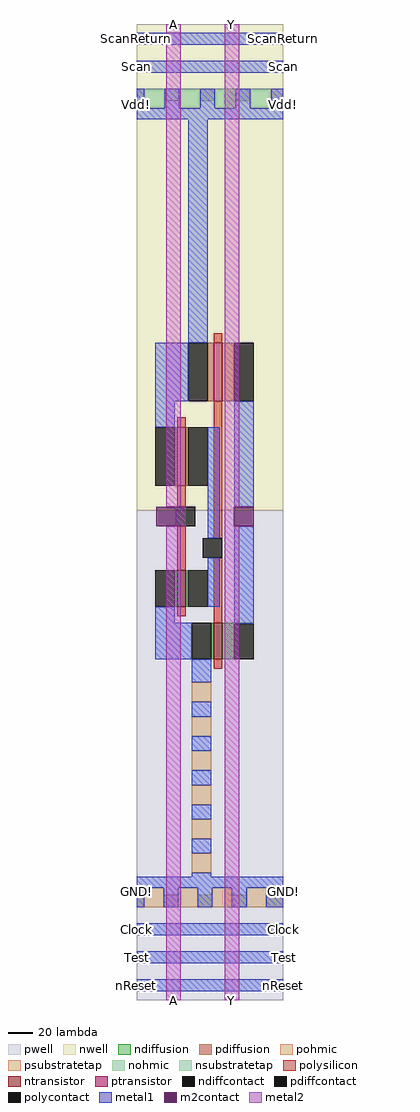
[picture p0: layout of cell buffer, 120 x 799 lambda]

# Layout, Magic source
magic
tech c035u
<< nwell >>
rect 0 401 120 799
<< pwell >>
rect 0 0 120 401
<< polysilicon >>
rect 63 538 70 546
rect 33 469 40 477
rect 33 404 40 421
rect 33 352 40 388
rect 63 378 70 490
rect 33 314 40 322
rect 63 309 70 362
rect 63 271 70 279
<< ndiffusion >>
rect 31 322 33 352
rect 40 322 42 352
rect 61 279 63 309
rect 70 308 96 309
rect 70 279 80 308
<< pdiffusion >>
rect 58 490 63 538
rect 70 490 80 538
rect 31 421 33 469
rect 40 421 42 469
<< pohmic >>
rect 0 76 6 86
rect 22 76 34 86
rect 50 76 62 86
rect 78 76 90 86
rect 106 76 120 86
<< nohmic >>
rect 0 736 6 746
rect 23 736 35 746
rect 52 736 64 746
rect 81 736 93 746
rect 110 736 120 746
<< ntransistor >>
rect 33 322 40 352
rect 63 279 70 309
<< ptransistor >>
rect 63 490 70 538
rect 33 421 40 469
<< polycontact >>
rect 32 388 48 404
rect 54 362 70 378
<< ndiffcontact >>
rect 15 322 31 352
rect 42 322 58 352
rect 45 279 61 309
rect 80 279 96 308
<< pdiffcontact >>
rect 42 490 58 538
rect 80 490 96 538
rect 15 421 31 469
rect 42 421 58 469
<< psubstratetap >>
rect 45 244 61 260
rect 45 216 61 232
rect 45 188 61 204
rect 45 160 61 176
rect 45 132 61 148
rect 45 104 61 120
rect 6 76 22 92
rect 34 76 50 92
rect 62 76 78 92
rect 90 76 106 92
<< nsubstratetap >>
rect 6 730 23 746
rect 35 730 52 746
rect 64 730 81 746
rect 93 730 110 746
<< metal1 >>
rect 0 782 120 792
rect 0 759 120 769
rect 0 730 6 746
rect 23 730 35 746
rect 52 730 64 746
rect 81 730 93 746
rect 110 730 120 746
rect 0 721 120 730
rect 42 538 58 721
rect 15 490 42 538
rect 15 469 31 490
rect 58 378 68 469
rect 80 404 96 490
rect 58 322 68 362
rect 15 309 31 322
rect 15 279 45 309
rect 80 308 96 388
rect 45 260 61 279
rect 45 232 61 244
rect 45 204 61 216
rect 45 176 61 188
rect 45 148 61 160
rect 45 120 61 132
rect 45 101 61 104
rect 0 92 120 101
rect 0 76 6 92
rect 22 76 34 92
rect 50 76 62 92
rect 78 76 90 92
rect 106 76 120 92
rect 0 53 120 63
rect 0 30 120 40
rect 0 7 120 17
<< m2contact >>
rect 16 388 32 404
rect 80 388 96 404
<< metal2 >>
rect 24 404 36 799
rect 72 404 84 799
rect 32 388 40 404
rect 72 388 80 404
rect 24 0 36 388
rect 72 0 84 388
<< labels >>
rlabel metal1 0 76 0 101 3 GND!
rlabel metal1 0 53 0 63 3 Clock
rlabel metal1 0 30 0 40 3 Test
rlabel metal1 0 7 0 17 2 nReset
rlabel metal1 120 7 120 17 8 nReset
rlabel metal1 120 30 120 40 7 Test
rlabel metal1 120 53 120 63 7 Clock
rlabel metal1 120 76 120 101 7 GND!
rlabel metal1 0 782 0 792 4 ScanReturn
rlabel metal1 0 759 0 769 3 Scan
rlabel metal1 0 721 0 746 3 Vdd!
rlabel metal1 120 721 120 746 7 Vdd!
rlabel metal1 120 759 120 769 7 Scan
rlabel metal1 120 782 120 792 6 ScanReturn
rlabel metal2 24 0 36 0 1 A
rlabel metal2 72 0 84 0 1 Y
rlabel metal2 24 799 36 799 5 A
rlabel metal2 72 799 84 799 5 Y
<< end >>
